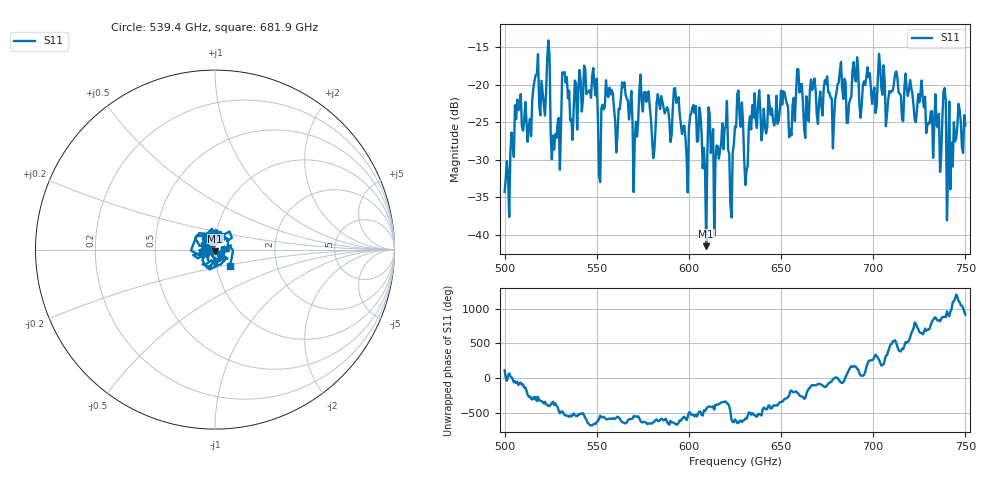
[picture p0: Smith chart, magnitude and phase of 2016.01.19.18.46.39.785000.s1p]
!Created with skrf (http://scikit-rf.org).
# GHz S RI R 50.0
!freq ReS11 ImS11
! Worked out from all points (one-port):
!   401 points, 500 GHz to 750 GHz, reference 50 ohm
!   lowest |S11| = -41.5 dB at 609.4 GHz (marker M1), VSWR 1.02, Z = 50 - j0.839 ohm
!   |S11| at or under -10 dB: start of sweep to end of sweep
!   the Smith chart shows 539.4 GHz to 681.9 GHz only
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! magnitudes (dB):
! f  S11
! 500 GHz  -34.3
! 516.9 GHz  -18.7
! 523.8 GHz  -14.1
! 526.2 GHz  -26.8
! 531.2 GHz  -18.4
! 548.8 GHz  -20.2
! 551.9 GHz  -33.0
! 556.2 GHz  -21.6
! 562.5 GHz  -23.3
! 571.2 GHz  -24.9
! 574.4 GHz  -22.2
! 580.6 GHz  -29.8
! 593.8 GHz  -22.2
! 609.4 GHz  -41.5
! 619.4 GHz  -25.8
! 623.1 GHz  -37.7
! 625 GHz  -25.5
! 627.5 GHz  -24.3
! 631.2 GHz  -31.5
! 636.9 GHz  -25.8
! 656.2 GHz  -22.6
! 660 GHz  -21.0
! 663.8 GHz  -21.5
! 687.5 GHz  -21.9
! 718.8 GHz  -21.5
! 738.1 GHz  -20.8
! 741.2 GHz  -22.2
! 750 GHz  -25.4
